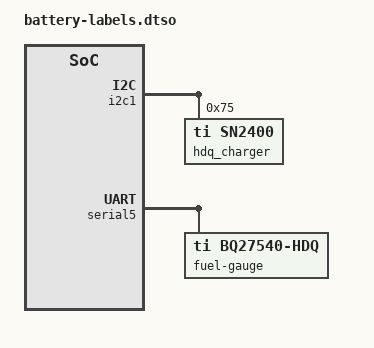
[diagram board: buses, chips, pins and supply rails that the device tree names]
/dts-v1/;
/plugin/;
/*
 * iPhone 6s battery fuel gauge, live-test overlay for a base DT that has
 * __symbols__ and the serial1..6 nodes (foundation kernel).
 * Build: dtc -@ -I dts -O dtb -o battery-labels.dtbo battery-labels.dtso
 * Apply once per boot; do not remove it while samsung-uart is bound.
 */
&pinctrl_ap {
	/* uart5 TX = pin 2, RX = pin 3 (iBoot leaves RX as a GPIO) */
	hdq_uart5_pins: hdq-uart5-pins {
		pinmux = <0x10002>, <0x10003>;	/* APPLE_PINMUX(2,1), (3,1) */
	};
};

&i2c1 {
	status = "okay";

	hdq_charger: charger@75 {
		compatible = "ti,sn2400";
		reg = <0x75>;
		#mux-state-cells = <1>;
	};
};

&serial5 {
	pinctrl-0 = <&hdq_uart5_pins>;
	pinctrl-names = "default";
	status = "okay";

	fuel-gauge {
		compatible = "ti,bq27540-hdq";
		mux-states = <&hdq_charger 1>;	/* line connected to the host */
	};
};
